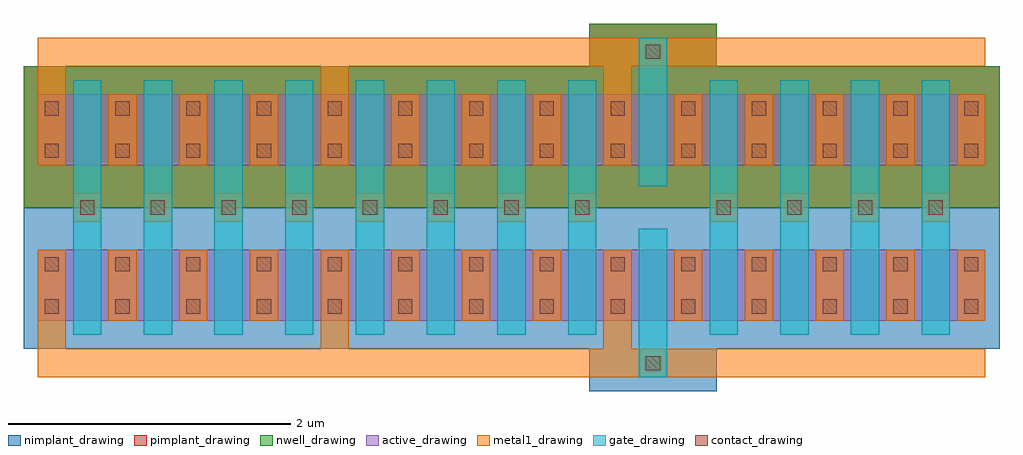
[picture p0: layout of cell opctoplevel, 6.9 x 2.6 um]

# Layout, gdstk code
import gdstk
lib = gdstk.Library(unit=1e-6, precision=1e-09)
def R(c, l, rs):  # rectangles x0, y0, x1, y1
    for r in rs: c.add(gdstk.rectangle(r[:2], r[2:], *l))
def A(c, l, x, y, w, h, nx, ny, dx, dy):  # array of equal rectangles
    R(c, l, [(x+i*dx, y+j*dy, x+i*dx+w, y+j*dy+h) for i in range(nx) for j in range(ny)])
active_drawing = (1, 0)
nwell_drawing = (3, 0)
pimplant_drawing = (4, 0)
nimplant_drawing = (5, 0)
gate_drawing = (6, 0)
contact_drawing = (7, 0)
metal1_drawing = (8, 0)

opctoplevel = lib.new_cell('opctoplevel')
A(opctoplevel, active_drawing, -0.25, 0, 0.7, 0.5, 13, 2, 0.5, 1.1)
A(opctoplevel, nwell_drawing, -0.35, 0.8, 0.9, 1, 8, 1, 0.5, 0)
A(opctoplevel, nwell_drawing, 4.15, 0.8, 0.9, 1, 4, 1, 0.5, 0)
R(opctoplevel, nwell_drawing, [(3.65,0.8,4.55,2.1)])
A(opctoplevel, pimplant_drawing, -0.35, 0.8, 0.9, 1, 8, 1, 0.5, 0)
A(opctoplevel, pimplant_drawing, 4.15, 0.8, 0.9, 1, 4, 1, 0.5, 0)
R(opctoplevel, pimplant_drawing, [(3.65,0.8,4.55,2.1)])
A(opctoplevel, nimplant_drawing, -0.35, -0.2, 0.9, 1, 8, 1, 0.5, 0)
A(opctoplevel, nimplant_drawing, 4.15, -0.2, 0.9, 1, 4, 1, 0.5, 0)
R(opctoplevel, nimplant_drawing, [(3.65,-0.5,4.55,0.8)])
A(opctoplevel, gate_drawing, 0, -0.1, 0.2, 1, 8, 1, 0.5, 0)
A(opctoplevel, gate_drawing, 4.5, -0.1, 0.2, 1, 4, 1, 0.5, 0)
A(opctoplevel, gate_drawing, 0, 0.8, 0.2, 0.9, 8, 1, 0.5, 0)
A(opctoplevel, gate_drawing, 4.5, 0.8, 0.2, 0.9, 4, 1, 0.5, 0)
R(opctoplevel, gate_drawing, [(4,-0.4,4.2,0.65), (4,0.95,4.2,2)])
A(opctoplevel, contact_drawing, -0.2, 0.05, 0.1, 0.1, 14, 2, 0.5, 0.3)
A(opctoplevel, contact_drawing, 0.05, 0.75, 0.1, 0.1, 8, 1, 0.5, 0)
A(opctoplevel, contact_drawing, 4.55, 0.75, 0.1, 0.1, 4, 1, 0.5, 0)
A(opctoplevel, contact_drawing, -0.2, 1.15, 0.1, 0.1, 14, 2, 0.5, 0.3)
R(opctoplevel, contact_drawing, [(4.05,-0.35,4.15,-0.25), (4.05,1.85,4.15,1.95)])
A(opctoplevel, metal1_drawing, -0.25, -0.2, 0.2, 0.2, 3, 2, 2, 1.8)
A(opctoplevel, metal1_drawing, -0.25, 0, 0.2, 0.5, 14, 2, 0.5, 1.1)
A(opctoplevel, metal1_drawing, 0, 0.7, 0.2, 0.2, 8, 1, 0.5, 0)
A(opctoplevel, metal1_drawing, 4.5, 0.7, 0.2, 0.2, 4, 1, 0.5, 0)
R(opctoplevel, metal1_drawing, [(-0.25,-0.4,6.45,-0.2), (4,-0.4,4.2,-0.2), (-0.25,1.8,6.45,2), (4,1.8,4.2,2)])

lib.write_gds('opctoplevel.gds')
